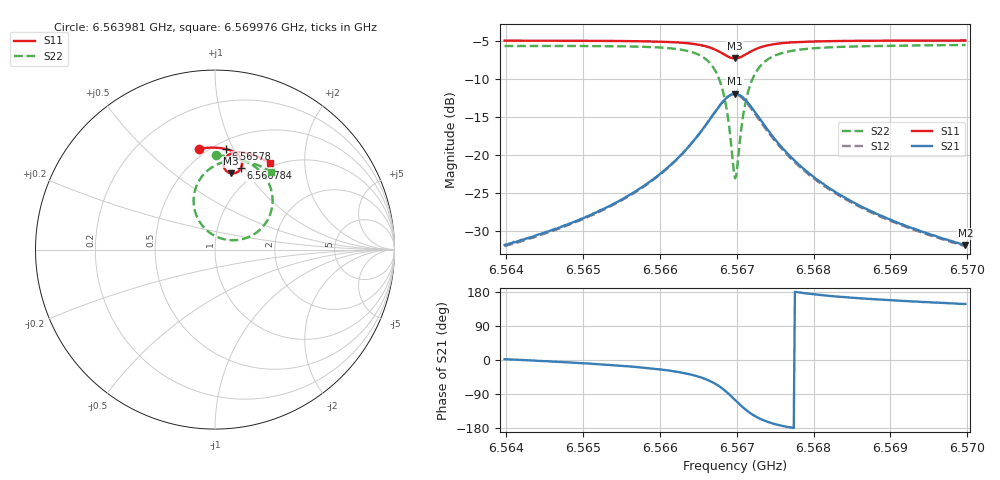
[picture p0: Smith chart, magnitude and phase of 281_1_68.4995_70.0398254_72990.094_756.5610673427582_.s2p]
#  HZ  S  RI  R  50.00
! Rohde & Schwarz Vector Network Analyzer
! Rohde-Schwarz,ZNB20-2Port,1311601062101988,3.16
! Created: UTC 3/20/2024, 5:01:09 PM
! freq[Hz]  re:S11  im:S11  re:S21  im:S21  re:S12  im:S12  re:S22  im:S22
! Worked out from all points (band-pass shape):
!   401 points, 6.563981 GHz to 6.569976 GHz, reference 50 ohm
!   highest |S21| = -11.91 dB at 6.566979 GHz (marker M1); lowest = -31.9 dB at 6.569976 GHz (marker M2)
!   |S21| within 3 dB of the highest: 6.566678 GHz to 6.567278 GHz (599.5 kHz wide, 0.00913 % of centre)
!   lowest |S11| = -7.2 dB at 6.566979 GHz (marker M3), VSWR 2.54, Z = 40 + j42 ohm
!   |S11| at or under -10 dB: nowhere
!   |S22| runs from -23.1 to -5.5 dB; largest |S21 - S12| = 0.011
!   S11 on the Smith chart (normalised r, x): 6.563981 GHz: 0.45, +0.75; 6.56578 GHz: 0.57, +0.94; 6.566784 GHz: 0.82, +0.97; 6.569976 GHz: 0.95, +1.35
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6.5639813e9  -0.0914 0.5617  0.0253 0.00095  0.0249 0.000429  0.00665 0.5243
6.5649854e9  -0.0109 0.5679  0.0376 -0.00555  0.0369 -0.00608  0.0972 0.5156
6.5657796e9  0.0597 0.5606  0.0579 -0.0211  0.057 -0.0219  0.1891 0.483
6.5659895e9  0.0806 0.555  0.0673 -0.0307  0.0661 -0.0315  0.2202 0.4637
6.5663042e9  0.1145 0.5387  0.0857 -0.0579  0.0843 -0.0591  0.2752 0.4097
6.566529e9  0.1395 0.5139  0.0989 -0.1008  0.0968 -0.1027  0.3144 0.3269
6.5666788e9  0.1502 0.484  0.0952 -0.1525  0.0916 -0.1553  0.3164 0.2278
6.5667837e9  0.1458 0.4558  0.0701 -0.2013  0.0639 -0.2039  0.2736 0.1361
6.5668736e9  0.1265 0.4325  0.0199 -0.239  0.0109 -0.2394  0.1833 0.0682
6.5669486e9  0.0993 0.4241  -0.0409 -0.2493  -0.0511 -0.246  0.0746 0.0534
6.5669786e9  0.0875 0.4254  -0.0668 -0.2449  -0.0766 -0.2397  0.0297 0.0636
6.5670085e9  0.0762 0.4292  -0.0912 -0.2355  -0.1002 -0.2287  -0.0118 0.0827
6.5670685e9  0.0582 0.4435  -0.1309 -0.2049  -0.1373 -0.1958  -0.0763 0.1411
6.5671284e9  0.0485 0.4626  -0.1544 -0.1664  -0.1576 -0.1567  -0.1106 0.2109
6.5671884e9  0.0469 0.4817  -0.1634 -0.1289  -0.164 -0.1199  -0.1193 0.2772
6.5672633e9  0.0526 0.5015  -0.1608 -0.0899  -0.1595 -0.0823  -0.107 0.3445
6.5673832e9  0.0692 0.5228  -0.1437 -0.0476  -0.1411 -0.0425  -0.0663 0.4154
6.567533e9  0.092 0.5359  -0.1194 -0.0189  -0.1169 -0.0158  -0.0126 0.4612
6.5679826e9  0.1486 0.542  -0.0724 0.00783  -0.0707 0.00896  0.1003 0.4956
6.5684472e9  0.1932 0.5332  -0.0493 0.0131  -0.0481 0.0135  0.1707 0.4908
6.5689867e9  0.2374 0.5176  -0.035 0.0141  -0.0341 0.0144  0.2292 0.4742
6.5699758e9  0.308 0.4807  -0.0215 0.0134  -0.021 0.0137  0.3099 0.4335
